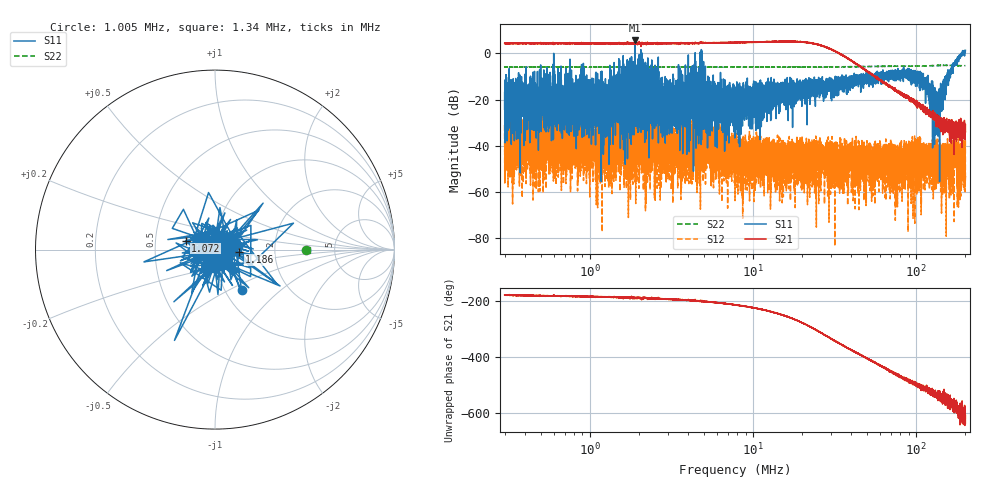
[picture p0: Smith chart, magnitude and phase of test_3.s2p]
# Hz S DB R 50
! CMT, M5065, 19127446, 24.2.4/2
! Date: 11/1/2024 4:56:18 PM
! Data: Format (Calibration Info)
! Freq	S11:dB/Ang(F2)	S21:dB/Ang(F2)	S12:dB/Ang(F2)	S22:dB/Ang(F2)
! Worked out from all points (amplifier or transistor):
!   9000 points, 300 kHz to 200 MHz, reference 50 ohm
!   highest |S21| = 5.6 dB at 1.883 MHz (marker M1)
!   |S21| within 3 dB of that: start of sweep to 27.96 MHz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
!   unconditionally stable (mu >= 1): 600.2 kHz to 1.882 MHz; 2.086 MHz to 4.414 MHz; 4.868 MHz to 189.2 MHz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
!   at 886.8 kHz: K = 22.32, MAG = 5.7 dB, |S12| = -40.1 dB
!   at 7.749 MHz: K = 323.69, MAG = 6.1 dB, |S12| = -63.7 dB
!   at 200 MHz: K = -2828.06, MSG = 9.6 dB, |S12| = -53.0 dB
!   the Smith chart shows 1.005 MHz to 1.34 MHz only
!   S11 on the Smith chart (normalised r, x): 1.005 MHz: 1.19, -0.58; 1.072 MHz: 0.72, +0.07; 1.186 MHz: 1.31, -0.03; 1.34 MHz: 0.91, -0.15
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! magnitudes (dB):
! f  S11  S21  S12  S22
! 300 kHz  -24.1  4.4  -31.0  -5.9
! 310.1 kHz  -14.5  4.3  -40.4  -5.9
! 342.2 kHz  -16.4  4.6  -38.3  -5.9
! 886.8 kHz  -16.1  4.3  -40.1  -5.9
! 1.005 MHz  -11.4  4.2  -53.6  -5.9
! 1.072 MHz  -15.3  4.5  -37.0  -5.9
! 1.186 MHz  -17.4  4.2  -47.1  -5.9
! 1.34 MHz  -20.7  4.5  -43.8  -5.8
! 1.738 MHz  -17.6  4.5  -39.3  -5.9
! 1.883 MHz  3.9  5.6  -42.6  -5.9
! 2.621 MHz  -27.9  4.3  -42.5  -5.9
! 3.246 MHz  -18.1  4.4  -40.5  -5.9
! 4.727 MHz  -22.1  4.5  -27.7  -5.9
! 7.749 MHz  -17.8  4.7  -63.7  -5.9
! 22.91 MHz  -15.9  4.5  -45.5  -5.8
! 67.71 MHz  -10.9  -13.7  -41.4  -5.6
! 75.73 MHz  -8.0  -16.0  -46.3  -5.5
! 105 MHz  -9.1  -22.5  -46.2  -5.4
! 135.5 MHz  -23.3  -27.5  -41.8  -5.2
! 157.5 MHz  -10.0  -29.3  -39.3  -5.1
! 192.6 MHz  -0.1  -29.8  -45.6  -5.3
! 200 MHz  1.3  -33.9  -53.0  -5.3
